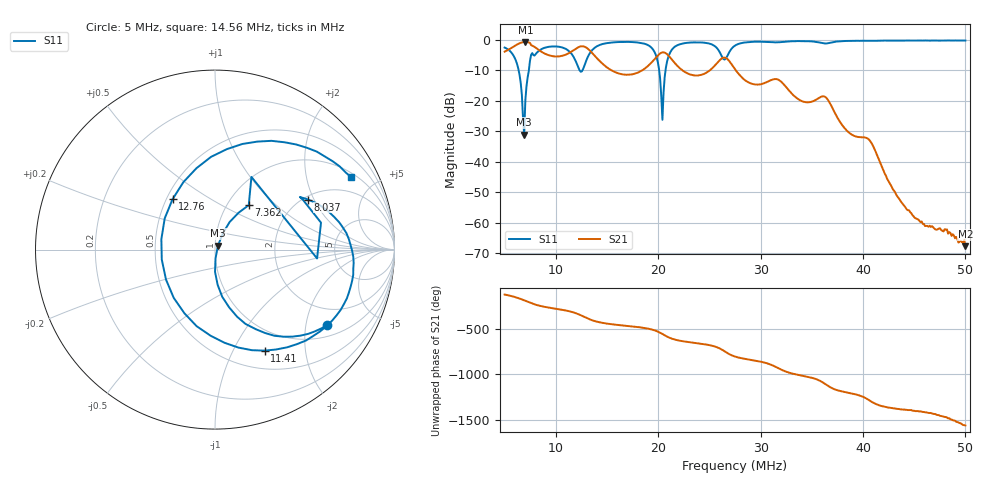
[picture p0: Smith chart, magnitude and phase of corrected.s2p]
! S11/S21 only; reverse parameters are placeholders. Device calibration unverified.
! [Saver CAL applied] C:\Users\aknya\MyProjects\rf-simulator\calibration2.cal | Ideal standards assumed | Input: NanoVNA F V2 profile | COM3 | 2026-09-08T11:35:20.5658791-04:00 | device calibration unverified
# HZ S RI R 50
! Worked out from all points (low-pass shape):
!   401 points, 5 MHz to 50 MHz, reference 50 ohm
!   highest |S21| = -0.64 dB at 7.025 MHz (marker M1); lowest = -67.7 dB at 50 MHz (marker M2)
!   |S21| within 3 dB of the highest: 5.119 MHz to 8.501 MHz (3.381 MHz wide, 49.7 % of centre); 11.61 MHz to 13.37 MHz (1.766 MHz wide, 14.1 % of centre)
!   lowest |S11| = -31.0 dB at 6.912 MHz (marker M3), VSWR 1.06, Z = 51.6 + j2.34 ohm
!   |S11| at or under -10 dB: 6.373 MHz to 7.368 MHz (994 kHz wide, 14.5 % of centre); 12.34 MHz to 12.59 MHz (254.7 kHz wide, 2.04 % of centre); 20.1 MHz to 20.72 MHz (619.5 kHz wide, 3.04 % of centre)
!   S12 and S22 are empty: the file has one direction only
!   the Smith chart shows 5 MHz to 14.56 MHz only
!   S11 on the Smith chart (normalised r, x): 5 MHz: 1.36, -2.63; 7.362 MHz: 1.25, +0.69; 8.037 MHz: 2.11, +1.81; 11.41 MHz: 0.72, -1.34; 12.76 MHz: 0.54, +0.35; 14.56 MHz: 1.18, +3.65
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5000000  0.6219 -0.422  -0.3503 -0.5399  0 0  0 0
6125000  0.1699 -0.414  -0.7436 -0.3581  0 0  0 0
6912500  0.0167 0.0226  -0.9227 0.1068  0 0  0 0
7025000  0.0444 0.0919  -0.91 0.1877  0 0  0 0
7362500  0.1881 0.2477  -0.8122 0.4087  0 0  0 0
8037500  0.5194 0.2787  -0.4291 0.6099  0 0  0 0
9837500  0.7564 -0.2044  0.0578 0.5356  0 0  0 0
1.14125e7  0.276 -0.5629  0.3964 0.4853  0 0  0 0
1.25375e7  -0.2989 0.0586  0.7863 0.0592  0 0  0 0
1.27625e7  -0.2366 0.2804  0.7733 -0.1076  0 0  0 0
1.45625e7  0.7589 0.4034  0.1113 -0.3922  0 0  0 0
1.805e7  0.8323 -0.3603  -0.1504 -0.2515  0 0  0 0
2.0075e7  -0.00595 -0.3389  -0.5776 -0.0426  0 0  0 0
2.04125e7  -0.0428 0.0239  -0.6007 0.1744  0 0  0 0
2.10875e7  0.4577 0.3619  -0.2948 0.446  0 0  0 0
2.3e7  0.8974 -0.1078  0.0747 0.266  0 0  0 0
2.615e7  0.4435 -0.3489  0.4888 -0.029  0 0  0 0
2.75e7  0.7967 -0.1322  0.0347 -0.3294  0 0  0 0
3.50375e7  0.6475 -0.6933  0.0729 0.0649  0 0  0 0
4.055e7  0.5121 -0.8261  -0.0221 0.00786  0 0  0 0
4.2575e7  0.4419 -0.8731  0.00119 0.00439  0 0  0 0
5e7  0.1588 -0.9661  -0.00021 -0.000355  0 0  0 0
